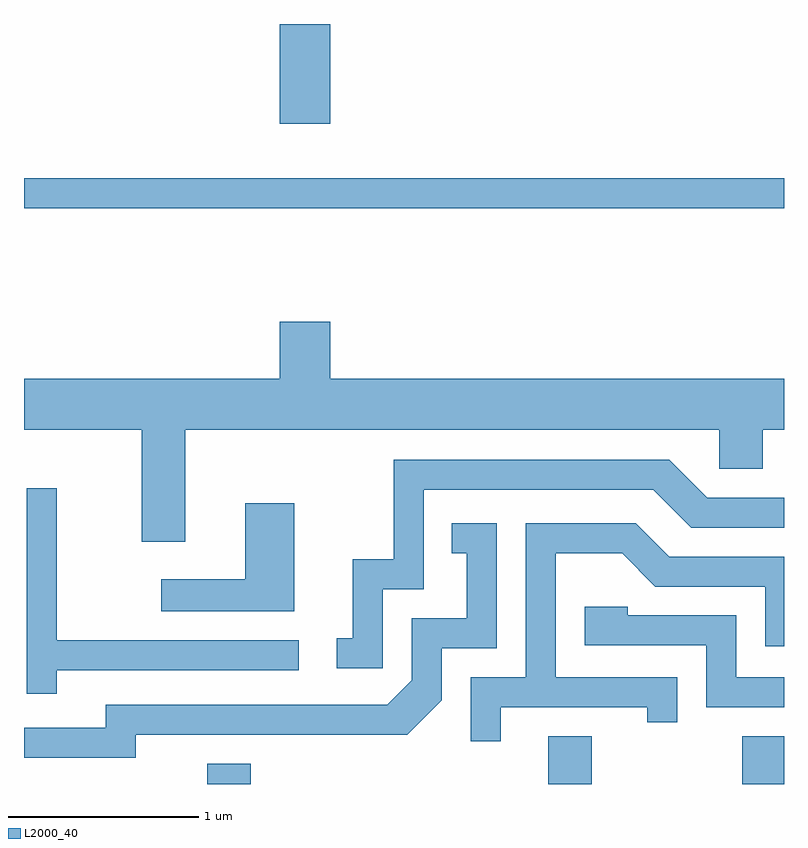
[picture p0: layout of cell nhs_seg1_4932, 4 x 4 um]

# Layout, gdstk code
import gdstk
lib = gdstk.Library(unit=1e-6, precision=1e-09)
def R(c, l, rs):  # rectangles x0, y0, x1, y1
    for r in rs: c.add(gdstk.rectangle(r[:2], r[2:], *l))
def P(c, l, *ps):  # polygons
    for p in ps: c.add(gdstk.Polygon(p, *l))
L2000_40 = (2000, 40)

nhs_seg1_4932 = lib.new_cell('nhs_seg1_4932')
R(nhs_seg1_4932, L2000_40, [(334.576,897.712,334.804,897.819), (336.371,897.712,336.599,897.964), (337.391,897.712,337.611,897.964), (333.611,900.741,337.611,900.899), (334.956,901.186,335.224,901.712)])
P(nhs_seg1_4932, L2000_40, [(334.459,899.576),(337.271,899.576),(337.271,899.371),(337.499,899.371),(337.499,899.576),(337.611,899.576),(337.611,899.844),(335.224,899.844),(335.224,900.144),(334.956,900.144),(334.956,899.844),(333.611,899.844),(333.611,899.576),(334.231,899.576),(334.231,898.986),(334.459,898.986)],
  [(335.499,898.736),(335.714,898.736),(335.714,899.261),(336.924,899.261),(337.124,899.061),(337.611,899.061),(337.611,899.219),(337.207,899.219),(337.007,899.419),(335.556,899.419),(335.556,898.894),(335.341,898.894),(335.341,898.479),(335.258,898.479),(335.258,898.321),(335.499,898.321)],
  [(333.784,898.311),(335.058,898.311),(335.058,898.469),(333.784,898.469),(333.784,899.268),(333.626,899.268),(333.626,898.188),(333.784,898.188)],
  [(335.034,899.189),(334.776,899.189),(334.776,898.789),(334.333,898.789),(334.333,898.621),(335.034,898.621)],
  [(334.199,897.971),(335.627,897.971),(335.809,898.154),(335.809,898.426),(336.099,898.426),(336.099,899.084),(335.863,899.084),(335.863,898.926),(335.941,898.926),(335.941,898.584),(335.651,898.584),(335.651,898.257),(335.524,898.129),(334.041,898.129),(334.041,898.009),(333.611,898.009),(333.611,897.851),(334.199,897.851)],
  [(336.119,898.116),(336.891,898.116),(336.891,898.038),(337.049,898.038),(337.049,898.274),(336.409,898.274),(336.409,898.926),(336.759,898.926),(336.934,898.751),(337.511,898.751),(337.511,898.436),(337.611,898.436),(337.611,898.909),(337.007,898.909),(336.832,899.084),(336.251,899.084),(336.251,898.274),(335.961,898.274),(335.961,897.938),(336.119,897.938)],
  [(337.611,898.274),(337.359,898.274),(337.359,898.599),(336.789,898.599),(336.789,898.644),(336.561,898.644),(336.561,898.441),(337.201,898.441),(337.201,898.116),(337.611,898.116)])

lib.write_gds('nhs_seg1_4932.gds')
